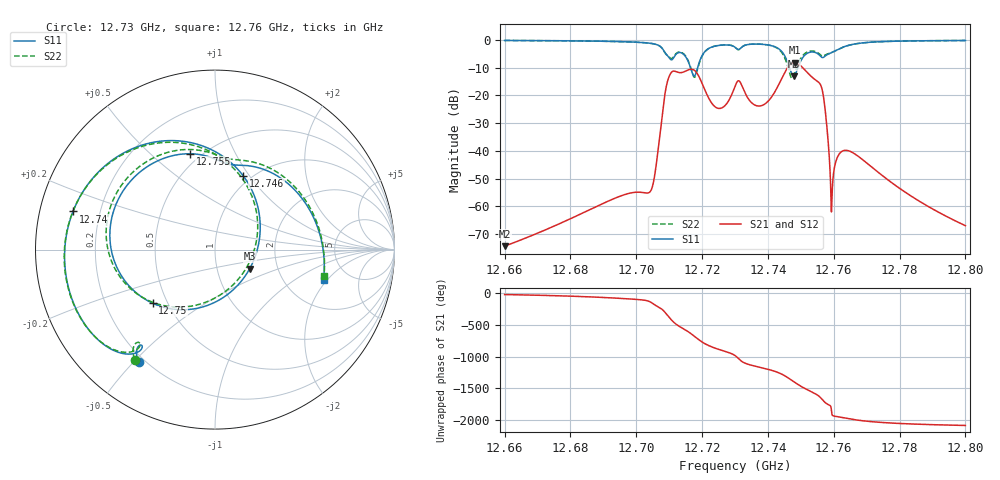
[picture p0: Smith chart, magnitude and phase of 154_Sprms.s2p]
! TOUCHSTONE file generated by CST MICROWAVE STUDIO
! Date and time: Wed Jul 31 18:37:16 2024
! Project name: WaveGuide_BPF-Ver4.1_U-shape_Ku_T3_C4_CWA_2.cst
! Parameters = {cavity_h=16; cavity_l0=10; cavity_l1=15.1977; cavity_l2=16.8108; cavity_l3=17.1122; cavity_l4=17.2383; cavity_l5=17.1685; cavity_l6=17.5679; cavity_r=2.5; cavity_screw_l=0.5; cavity_screw_r=1.5; cavity_w=8; iris_h00=0; iris_h01=8.836; iris_h112=0; iris_h12=5.5909; iris_h211=3.6679; i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
! Header version: 2018
! Port assignment regex: !\s*Touchstone port\s*([0-9]+)\s*=\s*(CST MWS port|CST DS port)\s*([0-9]+|Zmin|Zmax)\s*\(\"(.*)\"\)(\s*mode\s*([0-9]+))?.*
! Touchstone port assignment:
! Touchstone port 1 = CST MWS port 1 ("")
! Touchstone port 2 = CST MWS port 2 ("")
# GHz S RI R 50
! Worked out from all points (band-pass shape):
!   5001 points, 12.66 GHz to 12.8 GHz, reference 50 ohm
!   highest |S21| = -8.18 dB at 12.748 GHz (marker M1); lowest = -74.4 dB at 12.66 GHz (marker M2)
!   |S21| within 3 dB of the highest: 12.71509 GHz to 12.7179 GHz (2.811 MHz wide, 0.0221 % of centre); 12.74536 GHz to 12.75151 GHz (6.153 MHz wide, 0.0483 % of centre)
!   lowest |S11| = -13.1 dB at 12.748 GHz (marker M3), VSWR 1.57, Z = 72 - j15.9 ohm
!   |S11| at or under -10 dB: 12.71648 GHz to 12.71863 GHz (2.143 MHz wide, 0.0169 % of centre); 12.74657 GHz to 12.74911 GHz (2.538 MHz wide, 0.0199 % of centre)
!   |S22| runs from -13.9 to -0.2 dB; largest |S21 - S12| = 1e-09
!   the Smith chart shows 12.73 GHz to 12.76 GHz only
!   S11 on the Smith chart (normalised r, x): 12.73 GHz: 0.18, -0.52; 12.74 GHz: 0.10, +0.13; 12.746 GHz: 0.91, +0.93; 12.75 GHz: 0.42, -0.31; 12.755 GHz: 0.44, +0.67; 12.76 GHz: 3.28, -1.83
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12.66  0.3494 0.9165  0.000173 -7.99e-05  0.000173 -7.99e-05  0.359 0.9127
12.68335  0.7477 0.6041  0.000411 -0.000612  0.000411 -0.000612  0.757 0.592
12.70396  0.7617 -0.4334  -0.00122 -0.00129  -0.00122 -0.00129  0.7517 -0.451
12.70668  0.5099 -0.6222  -0.00846 0.00667  -0.00846 0.00667  0.4947 -0.6329
12.7109  0.215 -0.3864  0.0687 -0.2597  0.0687 -0.2597  0.2224 -0.4104
12.71603  -0.3197 -0.2012  -0.0658 0.2846  -0.0658 0.2846  -0.3217 -0.2216
12.71855  0.1522 0.2638  0.2462 0.015  0.2462 0.015  0.1448 0.2477
12.72174  0.5848 -0.3586  -0.0163 -0.0946  -0.0163 -0.0946  0.5646 -0.3891
12.72975  -0.4241 -0.6287  -0.0365 0.1282  -0.0365 0.1282  -0.4467 -0.6132
12.73  -0.4346 -0.5989  -0.0188 0.1444  -0.0188 0.1444  -0.4553 -0.5828
12.73972  -0.791 0.2129  -0.031 -0.0684  -0.031 -0.0684  -0.7894 0.2183
12.74568  0.1565 0.4119  -0.1597 0.2508  -0.1597 0.2508  0.1848 0.3426
12.74781  0.1938 -0.1053  0.2579 0.2908  0.2579 0.2908  0.1027 -0.1939
12.74809  0.156 -0.1639  0.3049 0.243  0.3049 0.243  0.0497 -0.2387
12.75036  -0.3468 -0.2991  0.2669 -0.1867  0.2669 -0.1867  -0.4417 -0.2412
12.75335  -0.531 0.2951  -0.086 -0.1969  -0.086 -0.1969  -0.533 0.3409
12.75537  -0.1397 0.5341  -0.173 -0.0151  -0.173 -0.0151  -0.1485 0.5578
12.75918  0.5736 0.1187  0.00129 7.7e-05  0.00129 7.7e-05  0.5719 0.1391
12.76021  0.605 -0.1693  -0.0035 -0.00358  -0.0035 -0.00358  0.6071 -0.1494
12.76514  -0.0767 -0.8157  -0.0097 1.86e-05  -0.0097 1.86e-05  -0.079 -0.812
12.77668  -0.8641 -0.3795  -0.00146 0.00254  -0.00146 0.00254  -0.8699 -0.3665
12.8  -0.9506 0.2358  8.03e-05 0.000439  8.03e-05 0.000439  -0.9481 0.2464
